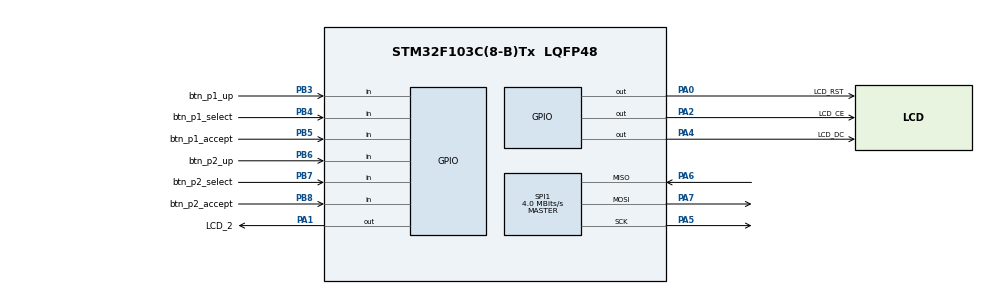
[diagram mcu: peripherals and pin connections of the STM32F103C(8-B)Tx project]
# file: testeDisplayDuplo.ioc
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FREERTOS.MEMORY_ALLOCATION=0
FREERTOS.Mutexes01=mtxBotoesP1,Dynamic,NULL;mtxBotoesP2,Dynamic,NULL;mtxStatus,Dynamic,NULL;mtxPalpiteP1,Dynamic,NULL;mtxPalpiteP2,Dynamic,NULL;mtxSenhaP1,Dynamic,NULL;mtxSenhaP2,Dynamic,NULL;mtxApostaP1,Dynamic,NULL;mtxApostaP2,Dynamic,NULL;mtxRespostaP1,Dynamic,NULL;mtxRespostaP2,Dynamic,NULL
FREERTOS.Tasks01=tsk_main_game,1,128,main_game,Default,NULL,Dynamic,NULL,NULL;tsk_p1_buttons,-2,128,buttons_p1,Default,NULL,Dynamic,NULL,NULL;tsk_p2_buttons,-2,128,p2_buttons,Default,NULL,Dynamic,NULL,NULL;tsk_p1_jogador,0,128,p1_jogador,Default,NULL,Dynamic,NULL,NULL;tsk_p2_jogador,0,128,p2_jogador,Default,NULL,Dynamic,NULL,NULL;tsk_display,-1,128,display,Default,NULL,Dynamic,NULL,NULL
FREERTOS.configMINIMAL_STACK_SIZE=100
FREERTOS.configTOTAL_HEAP_SIZE=5300
Mcu.Family=STM32F1
Mcu.Name=STM32F103C(8-B)Tx
Mcu.Package=LQFP48
NVIC.PriorityGroup=NVIC_PRIORITYGROUP_4
PA0-WKUP.GPIO_Label=LCD_RST
PA0-WKUP.Signal=GPIO_Output
PA1.GPIO_Label=LCD_2
PA1.Signal=GPIO_Output
PA13.Mode=Serial_Wire
PA13.Signal=SYS_JTMS-SWDIO
PA14.Mode=Serial_Wire
PA14.Signal=SYS_JTCK-SWCLK
PA2.GPIO_Label=LCD_CE
PA2.Signal=GPIO_Output
PA4.GPIO_Label=LCD_DC
PA4.Signal=GPIO_Output
PA5.Mode=Full_Duplex_Master
PA5.Signal=SPI1_SCK
PA6.Mode=Full_Duplex_Master
PA6.Signal=SPI1_MISO
PA7.Mode=Full_Duplex_Master
PA7.Signal=SPI1_MOSI
PB3.GPIO_Label=btn_p1_up
PB3.GPIO_PuPd=GPIO_PULLUP
PB3.Signal=GPIO_Input
PB4.GPIO_Label=btn_p1_select
PB4.GPIO_PuPd=GPIO_PULLUP
PB4.Signal=GPIO_Input
PB5.GPIO_Label=btn_p1_accept
PB5.GPIO_PuPd=GPIO_PULLUP
PB5.Signal=GPIO_Input
PB6.GPIO_Label=btn_p2_up
PB6.GPIO_PuPd=GPIO_PULLUP
PB6.Signal=GPIO_Input
PB7.GPIO_Label=btn_p2_select
PB7.GPIO_PuPd=GPIO_PULLUP
PB7.Signal=GPIO_Input
PB8.GPIO_Label=btn_p2_accept
PB8.GPIO_PuPd=GPIO_PULLUP
PB8.Signal=GPIO_Input
ProjectManager.HeapSize=0x200
ProjectManager.StackSize=0x400
ProjectManager.TargetToolchain=STM32CubeIDE
RCC.APB1Freq_Value=8000000
RCC.APB2Freq_Value=8000000
SPI1.CalculateBaudRate=4.0 MBits/s
SPI1.Direction=SPI_DIRECTION_2LINES
SPI1.Mode=SPI_MODE_MASTER
SPI1.VirtualType=VM_MASTER
VP_FREERTOS_VS_CMSIS_V1.Mode=CMSIS_V1
board=custom

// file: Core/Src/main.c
/* USER CODE BEGIN Header */
/**
  ******************************************************************************
  * @file           : main.c
  * @brief          : Main program body
  ******************************************************************************
  * @attention
  *
  * Copyright (c) 2022 STMicroelectronics.
  * All rights reserved.
  *
  * This software is licensed under terms that can be found in the LICENSE file
  * in the root directory of this software component.
  * If no LICENSE file comes with this software, it is provided AS-IS.
  *
  ******************************************************************************
  */
/* USER CODE END Header */
#include "main.h"
#include "cmsis_os.h"

 SPI_HandleTypeDef hspi1;

osThreadId tsk_main_gameHandle;
osThreadId tsk_p1_buttonsHandle;
osThreadId tsk_p2_buttonsHandle;
osThreadId tsk_p1_jogadorHandle;
osThreadId tsk_p2_jogadorHandle;
osThreadId tsk_displayHandle;
osMutexId mtxBotoesP1Handle;
osMutexId mtxBotoesP2Handle;
osMutexId mtxStatusHandle;
osMutexId mtxPalpiteP1Handle;
osMutexId mtxPalpiteP2Handle;
osMutexId mtxSenhaP1Handle;
osMutexId mtxSenhaP2Handle;
osMutexId mtxApostaP1Handle;
osMutexId mtxApostaP2Handle;
osMutexId mtxRespostaP1Handle;
osMutexId mtxRespostaP2Handle;
/* USER CODE BEGIN PV */
int flag_p1_up = 0;
int flag_p1_select = 0;
int flag_p1_accept = 0;

int flag_p2_up = 0;
int flag_p2_select = 0;
int flag_p2_accept = 0;

int status_jogo = 0;

char senha_jogador1[4] = "0000";
char senha_jogador2[4] = "0000";
char aposta_jogador1[4] = "0000";
char aposta_jogador2[4] = "0000";
char palpite_jogador1[4] = "0000";
char palpite_jogador2[4] = "0000";

char resposta_jogador1[4] = "0000";
char resposta_jogador2[4] = "0000";

/* USER CODE END PV */

void SystemClock_Config(void);
static void MX_GPIO_Init(void);
static void MX_SPI1_Init(void);
void main_game(void const * argument);
void buttons_p1(void const * argument);
void p2_buttons(void const * argument);
void p1_jogador(void const * argument);
void p2_jogador(void const * argument);
void display(void const * argument);

int main(void)
{

  /* MCU Configuration--------------------------------------------------------*/

  /* Reset of all peripherals, Initializes the Flash interface and the Systick. */
  HAL_Init();

  /* Configure the system clock */
  SystemClock_Config();

  /* Initialize all configured peripherals */
  MX_GPIO_Init();
  MX_SPI1_Init();
  /* USER CODE BEGIN 2 */
LCD_Init();

  /* USER CODE END 2 */

  /* Create the mutex(es) */
  /* definition and creation of mtxBotoesP1 */
  osMutexDef(mtxBotoesP1);
  mtxBotoesP1Handle = osMutexCreate(osMutex(mtxBotoesP1));

  /* definition and creation of mtxBotoesP2 */
  osMutexDef(mtxBotoesP2);
  mtxBotoesP2Handle = osMutexCreate(osMutex(mtxBotoesP2));

  /* definition and creation of mtxStatus */
  osMutexDef(mtxStatus);
  mtxStatusHandle = osMutexCreate(osMutex(mtxStatus));

  /* definition and creation of mtxPalpiteP1 */
  osMutexDef(mtxPalpiteP1);
  mtxPalpiteP1Handle = osMutexCreate(osMutex(mtxPalpiteP1));

  /* definition and creation of mtxPalpiteP2 */
  osMutexDef(mtxPalpiteP2);
  mtxPalpiteP2Handle = osMutexCreate(osMutex(mtxPalpiteP2));

  /* definition and creation of mtxSenhaP1 */
  osMutexDef(mtxSenhaP1);
  mtxSenhaP1Handle = osMutexCreate(osMutex(mtxSenhaP1));

  /* definition and creation of mtxSenhaP2 */
  osMutexDef(mtxSenhaP2);
  mtxSenhaP2Handle = osMutexCreate(osMutex(mtxSenhaP2));

  /* definition and creation of mtxApostaP1 */
  osMutexDef(mtxApostaP1);
  mtxApostaP1Handle = osMutexCreate(osMutex(mtxApostaP1));

  /* definition and creation of mtxApostaP2 */
  osMutexDef(mtxApostaP2);
  mtxApostaP2Handle = osMutexCreate(osMutex(mtxApostaP2));

  /* definition and creation of mtxRespostaP1 */
  osMutexDef(mtxRespostaP1);
  mtxRespostaP1Handle = osMutexCreate(osMutex(mtxRespostaP1));

  /* definition and creation of mtxRespostaP2 */
  osMutexDef(mtxRespostaP2);
  mtxRespostaP2Handle = osMutexCreate(osMutex(mtxRespostaP2));

  /* Create the thread(s) */
  /* definition and creation of tsk_main_game */
  osThreadDef(tsk_main_game, main_game, osPriorityAboveNormal, 0, 128);
  tsk_main_gameHandle = osThreadCreate(osThread(tsk_main_game), NULL);

  /* definition and creation of tsk_p1_buttons */
  osThreadDef(tsk_p1_buttons, buttons_p1, osPriorityLow, 0, 128);
  tsk_p1_buttonsHandle = osThreadCreate(osThread(tsk_p1_buttons), NULL);

  /* definition and creation of tsk_p2_buttons */
  osThreadDef(tsk_p2_buttons, p2_buttons, osPriorityLow, 0, 128);
  tsk_p2_buttonsHandle = osThreadCreate(osThread(tsk_p2_buttons), NULL);

  /* definition and creation of tsk_p1_jogador */
  osThreadDef(tsk_p1_jogador, p1_jogador, osPriorityNormal, 0, 128);
  tsk_p1_jogadorHandle = osThreadCreate(osThread(tsk_p1_jogador), NULL);

  /* definition and creation of tsk_p2_jogador */
  osThreadDef(tsk_p2_jogador, p2_jogador, osPriorityNormal, 0, 128);
  tsk_p2_jogadorHandle = osThreadCreate(osThread(tsk_p2_jogador), NULL);

  /* definition and creation of tsk_display */
  osThreadDef(tsk_display, display, osPriorityBelowNormal, 0, 128);
  tsk_displayHandle = osThreadCreate(osThread(tsk_display), NULL);

  /* Start scheduler */
  osKernelStart();

  /* We should never get here as control is now taken by the scheduler */
  /* Infinite loop */
  while (1)
  {

    /* USER CODE BEGIN 3 */
	  HAL_GPIO_WritePin(LCD_CE_GPIO_Port, LCD_CE_Pin, GPIO_PIN_RESET);
	  HAL_GPIO_WritePin(LCD_2_GPIO_Port, LCD_2_Pin, GPIO_PIN_SET);
	  HAL_Delay(100);
	  LCD_Write_String(0,0,"Jogador 1");

	  HAL_GPIO_WritePin(LCD_CE_GPIO_Port, LCD_CE_Pin, GPIO_PIN_SET);
	  HAL_GPIO_WritePin(LCD_2_GPIO_Port, LCD_2_Pin, GPIO_PIN_RESET);
	  HAL_Delay(100);
	  LCD_Write_String(0,0,"Jogador 2");
  }
  /* USER CODE END 3 */
}

void SystemClock_Config(void)
{
  RCC_OscInitTypeDef RCC_OscInitStruct = {0};
  RCC_ClkInitTypeDef RCC_ClkInitStruct = {0};

  /** Initializes the RCC Oscillators according to the specified parameters
  * in the RCC_OscInitTypeDef structure.
  */
  RCC_OscInitStruct.OscillatorType = RCC_OSCILLATORTYPE_HSI;
  RCC_OscInitStruct.HSIState = RCC_HSI_ON;
  RCC_OscInitStruct.HSICalibrationValue = RCC_HSICALIBRATION_DEFAULT;
  RCC_OscInitStruct.PLL.PLLState = RCC_PLL_NONE;
  if (HAL_RCC_OscConfig(&RCC_OscInitStruct) != HAL_OK)
  {
    Error_Handler();
  }

  /** Initializes the CPU, AHB and APB buses clocks
  */
  RCC_ClkInitStruct.ClockType = RCC_CLOCKTYPE_HCLK|RCC_CLOCKTYPE_SYSCLK
                              |RCC_CLOCKTYPE_PCLK1|RCC_CLOCKTYPE_PCLK2;
  RCC_ClkInitStruct.SYSCLKSource = RCC_SYSCLKSOURCE_HSI;
  RCC_ClkInitStruct.AHBCLKDivider = RCC_SYSCLK_DIV1;
  RCC_ClkInitStruct.APB1CLKDivider = RCC_HCLK_DIV1;
  RCC_ClkInitStruct.APB2CLKDivider = RCC_HCLK_DIV1;

  if (HAL_RCC_ClockConfig(&RCC_ClkInitStruct, FLASH_LATENCY_0) != HAL_OK)
  {
    Error_Handler();
  }
}

static void MX_SPI1_Init(void)
{

  /* SPI1 parameter configuration*/
  hspi1.Instance = SPI1;
  hspi1.Init.Mode = SPI_MODE_MASTER;
  hspi1.Init.Direction = SPI_DIRECTION_2LINES;
  hspi1.Init.DataSize = SPI_DATASIZE_8BIT;
  hspi1.Init.CLKPolarity = SPI_POLARITY_LOW;
  hspi1.Init.CLKPhase = SPI_PHASE_1EDGE;
  hspi1.Init.NSS = SPI_NSS_SOFT;
  hspi1.Init.BaudRatePrescaler = SPI_BAUDRATEPRESCALER_2;
  hspi1.Init.FirstBit = SPI_FIRSTBIT_MSB;
  hspi1.Init.TIMode = SPI_TIMODE_DISABLE;
  hspi1.Init.CRCCalculation = SPI_CRCCALCULATION_DISABLE;
  hspi1.Init.CRCPolynomial = 10;
  if (HAL_SPI_Init(&hspi1) != HAL_OK)
  {
    Error_Handler();
  }

}

static void MX_GPIO_Init(void)
{
  GPIO_InitTypeDef GPIO_InitStruct = {0};

  /* GPIO Ports Clock Enable */
  __HAL_RCC_GPIOA_CLK_ENABLE();
  __HAL_RCC_GPIOB_CLK_ENABLE();

  /*Configure GPIO pin Output Level */
  HAL_GPIO_WritePin(GPIOA, LCD_RST_Pin|LCD_2_Pin|LCD_CE_Pin|LCD_DC_Pin, GPIO_PIN_RESET);

  /*Configure GPIO pins : LCD_RST_Pin LCD_2_Pin LCD_CE_Pin LCD_DC_Pin */
  GPIO_InitStruct.Pin = LCD_RST_Pin|LCD_2_Pin|LCD_CE_Pin|LCD_DC_Pin;
  GPIO_InitStruct.Mode = GPIO_MODE_OUTPUT_PP;
  GPIO_InitStruct.Pull = GPIO_NOPULL;
  GPIO_InitStruct.Speed = GPIO_SPEED_FREQ_LOW;
  HAL_GPIO_Init(GPIOA, &GPIO_InitStruct);

  /*Configure GPIO pins : btn_p1_up_Pin btn_p1_select_Pin btn_p1_accept_Pin btn_p2_up_Pin
                           btn_p2_select_Pin btn_p2_accept_Pin */
  GPIO_InitStruct.Pin = btn_p1_up_Pin|btn_p1_select_Pin|btn_p1_accept_Pin|btn_p2_up_Pin
                          |btn_p2_select_Pin|btn_p2_accept_Pin;
  GPIO_InitStruct.Mode = GPIO_MODE_INPUT;
  GPIO_InitStruct.Pull = GPIO_PULLUP;
  HAL_GPIO_Init(GPIOB, &GPIO_InitStruct);

}

void main_game(void const * argument)
{
  for(;;)
  {
    osDelay(1);
  }
}

void buttons_p1(void const * argument)
{
  /* USER CODE BEGIN buttons_p1 */
  /* Infinite loop */

	int estado_atual_up 		 = HAL_GPIO_ReadPin(btn_p1_up_GPIO_Port, btn_p1_up_Pin);
	int estado_atual_select 	 = HAL_GPIO_ReadPin(btn_p1_select_GPIO_Port, btn_p1_select_Pin);
	int estado_atual_accept 	 = HAL_GPIO_ReadPin(btn_p1_accept_GPIO_Port, btn_p1_accept_Pin);
	int estado_anterior_up     = estado_atual_up;
	int estado_anterior_select = estado_atual_select;
	int estado_anterior_accept  = estado_atual_accept;
	for(;;)
	{
	  int acionou_up = 0;
	  int acionou_select = 0;
	  int acionou_accept = 0;

	  estado_atual_up 		 = HAL_GPIO_ReadPin(btn_p1_up_GPIO_Port, btn_p1_up_Pin);
	  estado_atual_select 	 = HAL_GPIO_ReadPin(btn_p1_select_GPIO_Port, btn_p1_select_Pin);
	  estado_atual_accept 	 = HAL_GPIO_ReadPin(btn_p1_accept_GPIO_Port, btn_p1_accept_Pin);

	  if(estado_atual_up != estado_anterior_up && estado_atual_up == 0){

		  acionou_up = 1;

	  }
	  if(estado_atual_select != estado_anterior_select && estado_atual_select == 0){

	  	  acionou_select = 1;

	  }
	  if(estado_atual_accept != estado_anterior_accept && estado_atual_accept == 0){

	  	  acionou_accept = 1;

	  }
	  estado_anterior_up     = estado_atual_up;
	  estado_anterior_select = estado_atual_select;
	  estado_anterior_accept  = estado_atual_accept;

	  osMutexWait(mtxBotoesP1Handle, 1000);
	  if(acionou_up > 0){
		  flag_p1_up = acionou_up;
	  }
	  if(acionou_select > 0){
		  flag_p1_select = acionou_up;
	  }
	  if(acionou_accept > 0){
		  flag_p1_accept = acionou_accept;
	  }
	  osMutexRelease(mtxBotoesP1Handle);
	  osDelay(100);
	}
  /* USER CODE END buttons_p1 */
}

void p2_buttons(void const * argument)
{
  /* USER CODE BEGIN p2_buttons */
  /* Infinite loop */
	int estado_atual_up 		 = HAL_GPIO_ReadPin(btn_p2_up_GPIO_Port, btn_p2_up_Pin);
	int estado_atual_select 	 = HAL_GPIO_ReadPin(btn_p2_select_GPIO_Port, btn_p2_select_Pin);
	int estado_atual_accept 	 = HAL_GPIO_ReadPin(btn_p2_accept_GPIO_Port, btn_p2_accept_Pin);
	int estado_anterior_up     = estado_atual_up;
	int estado_anterior_select = estado_atual_select;
	int estado_anterior_accept  = estado_atual_accept;

	for(;;)
	{
	  int acionou_up = 0;
	  int acionou_select = 0;
	  int acionou_accept = 0;

	  estado_atual_up 		 = HAL_GPIO_ReadPin(btn_p2_up_GPIO_Port, btn_p2_up_Pin);
	  estado_atual_select 	 = HAL_GPIO_ReadPin(btn_p2_select_GPIO_Port, btn_p2_select_Pin);
	  estado_atual_accept 	 = HAL_GPIO_ReadPin(btn_p2_accept_GPIO_Port, btn_p2_accept_Pin);

	  if(estado_atual_up != estado_anterior_up && estado_atual_up == 0){
		  acionou_up = 1;
	  }
	  if(estado_atual_select != estado_anterior_select && estado_atual_select == 0){
	  	  acionou_select = 1;
	  }
	  if(estado_atual_accept != estado_anterior_accept && estado_atual_accept == 0){
	  	  acionou_accept = 1;
	  }
	  estado_anterior_up     = estado_atual_up;
	  estado_anterior_select = estado_atual_select;
	  estado_anterior_accept  = estado_atual_accept;

	  osMutexWait(mtxBotoesP2Handle, 1000);
	  if(acionou_up > 0){
		  flag_p2_up = acionou_up;
	  }
	  if(acionou_select > 0){
		flag_p2_select = acionou_up;
	  }
	  if(acionou_accept > 0){
		  flag_p2_accept = acionou_accept;
	  }
	  osMutexRelease(mtxBotoesP2Handle);

	  osDelay(100);
	}
  /* USER CODE END p2_buttons */
}

void p1_jogador(void const * argument)
{
  /* USER CODE BEGIN p1_jogador */
  /* Infinite loop */
	int acionou_up = 0;
	int acionou_select = 0;
	int acionou_accept = 0;
	int local_status_jogo = 0;
	int posicao_tela = 0;
	char local_senha[4] ;
	char local_palpite[4];
  for(;;)
  {
	osMutexWait(mtxBotoesP1Handle, 1000);
	acionou_up = flag_p1_up;
	acionou_select = flag_p1_select;
	acionou_accept = flag_p2_accept;
	osMutexRelease(mtxBotoesP1Handle);

	osMutexWait(mtxStatusHandle, 1000);
	local_status_jogo = status_jogo;
	osMutexRelease(mtxStatusHandle);

	osMutexWait(mtxPalpiteP1Handle,1000);
	palpite_jogador1[0] = local_palpite[0];
	palpite_jogador1[1] = local_palpite[1];
	palpite_jogador1[2] = local_palpite[2];
	palpite_jogador1[3] = local_palpite[3];
	osMutexRelease(mtxPalpiteP1Handle);

	if(local_status_jogo == 0){
		if(acionou_select > 0){
			if(posicao_tela >= 3){
				posicao_tela = 0;
			}else{
				posicao_tela ++;
			}
			osMutexWait(mtxBotoesP1Handle, 1000);
			flag_p1_select = 0;
			osMutexRelease(mtxBotoesP1Handle);
			acionou_select = 0;
		}
		if(acionou_up > 0 ){

			if( local_palpite[posicao_tela] >= 9){
				local_palpite[posicao_tela] = 0;
			}else{
				local_palpite[posicao_tela] ++;
			}
			osMutexWait(mtxBotoesP1Handle, 1000);
			flag_p1_up = 0;
			osMutexRelease(mtxBotoesP1Handle);
			acionou_up = 0;
		}
		if(acionou_accept > 0 ){
			osMutexWait(mtxSenhaP1Handle, 1000);
			senha_jogador1[0] = local_palpite[0];
			senha_jogador1[1] = local_palpite[1];
			senha_jogador1[2] = local_palpite[2];
			senha_jogador1[3] = local_palpite[3];
			osMutexRelease(mtxSenhaP1Handle);
			osMutexWait(mtxBotoesP1Handle, 1000);
			flag_p1_accept = 0;
			osMutexRelease(mtxBotoesP1Handle);
			acionou_accept = 0;
		}
	}else if(local_status_jogo == 1 || local_status_jogo == 2){
		if(acionou_select > 0){
					if(posicao_tela >= 3){
						posicao_tela = 0;
					}else{
						posicao_tela ++;
					}
					osMutexWait(mtxBotoesP1Handle, 1000);
					flag_p1_select = 0;
					osMutexRelease(mtxBotoesP1Handle);
					acionou_select = 0;
				}
				if(acionou_up > 0 ){

					if( local_palpite[posicao_tela] >= 9){
						local_palpite[posicao_tela] = 0;
					}else{
						local_palpite[posicao_tela] ++;
					}
					osMutexWait(mtxBotoesP1Handle, 1000);
					flag_p1_up = 0;
					osMutexRelease(mtxBotoesP1Handle);
					acionou_up = 0;
				}
				if(acionou_accept > 0 ){
					if(local_status_jogo == 1){
						osMutexWait(mtxApostaP1Handle, 1000);
						aposta_jogador1[0] = local_palpite[0];
						aposta_jogador1[1] = local_palpite[1];
						aposta_jogador1[2] = local_palpite[2];
						aposta_jogador1[3] = local_palpite[3];
						osMutexRelease(mtxApostaP1Handle);
					}
					osMutexWait(mtxBotoesP1Handle, 1000);
					flag_p1_accept = 0;
					osMutexRelease(mtxBotoesP1Handle);
					acionou_accept = 0;
				}

	}

    osDelay(1);
  }
  /* USER CODE END p1_jogador */
}

void p2_jogador(void const * argument)
{
  /* USER CODE BEGIN p2_jogador */
  /* Infinite loop */
	int acionou_up = 0;
	int acionou_select = 0;
	int acionou_accept = 0;
	int local_status_jogo = 0;
	int posicao_tela = 0;
	char local_palpite[4];
  for(;;)
  {
	osMutexWait(mtxBotoesP2Handle, 1000);
	acionou_up = flag_p2_up;
	acionou_select = flag_p2_select;
	acionou_accept = flag_p2_accept;
	osMutexRelease(mtxBotoesP2Handle);

	osMutexWait(mtxStatusHandle, 1000);
	local_status_jogo = status_jogo;
	osMutexRelease(mtxStatusHandle);

	osMutexWait(mtxPalpiteP2Handle,1000);
	palpite_jogador2[0] = local_palpite[0];
	palpite_jogador2[1] = local_palpite[1];
	palpite_jogador2[2] = local_palpite[2];
	palpite_jogador2[3] = local_palpite[3];
	osMutexRelease(mtxPalpiteP2Handle);

	if(local_status_jogo == 0){
		if(acionou_select > 0){
			if(posicao_tela >= 3){
				posicao_tela = 0;
			}else{
				posicao_tela ++;
			}
			osMutexWait(mtxBotoesP2Handle, 1000);
			flag_p1_select = 0;
			osMutexRelease(mtxBotoesP2Handle);
			acionou_select = 0;
		}
		if(acionou_up > 0 ){

			if( local_palpite[posicao_tela] >= 9){
				local_palpite[posicao_tela] = 0;
			}else{
				local_palpite[posicao_tela] ++;
			}
			osMutexWait(mtxBotoesP2Handle, 1000);
			flag_p2_up = 0;
			osMutexRelease(mtxBotoesP2Handle);
			acionou_up = 0;
		}
		if(acionou_accept > 0 ){
			osMutexWait(mtxSenhaP2Handle, 1000);
			senha_jogador2[0] = local_palpite[0];
			senha_jogador2[1] = local_palpite[1];
			senha_jogador2[2] = local_palpite[2];
			senha_jogador2[3] = local_palpite[3];
			osMutexRelease(mtxSenhaP2Handle);
			osMutexWait(mtxBotoesP2Handle, 1000);
			flag_p2_accept = 0;
			osMutexRelease(mtxBotoesP2Handle);
			acionou_accept = 0;
		}
	}else if(local_status_jogo == 1 || local_status_jogo == 2){
		if(acionou_select > 0){
					if(posicao_tela >= 3){
						posicao_tela = 0;
					}else{
						posicao_tela ++;
					}
					osMutexWait(mtxBotoesP2Handle, 1000);
					flag_p1_select = 0;
					osMutexRelease(mtxBotoesP1Handle);
					acionou_select = 0;
				}
				if(acionou_up > 0 ){

					if( local_palpite[posicao_tela] >= 9){
						local_palpite[posicao_tela] = 0;
					}else{
						local_palpite[posicao_tela] ++;
					}
					osMutexWait(mtxBotoesP2Handle, 1000);
					flag_p2_up = 0;
					osMutexRelease(mtxBotoesP2Handle);
					acionou_up = 0;
				}
				if(acionou_accept > 0 ){
					if(local_status_jogo == 2){
						osMutexWait(mtxApostaP2Handle, 1000);
						aposta_jogador2[0] = local_palpite[0];
						aposta_jogador2[1] = local_palpite[1];
						aposta_jogador2[2] = local_palpite[2];
						aposta_jogador2[3] = local_palpite[3];
						osMutexRelease(mtxApostaP2Handle);
					}
					osMutexWait(mtxBotoesP2Handle, 1000);
					flag_p1_accept = 0;
					osMutexRelease(mtxBotoesP2Handle);
					acionou_accept = 0;
				}

	}

    osDelay(1);
  }
  /* USER CODE END p2_jogador */
}

void display(void const * argument)
{
  /* USER CODE BEGIN display */
  /* Infinite loop */
	char local_palpiteP1[4];
	char local_palpiteP2[4];
	char local_SenhaP1[4];
	char local_SenhaP2[4];
	char local_ApostaP1[4];
	char local_ApostaP2[4];
	char local_RespostaP1[4];
	char local_RespostaP2[4];
  for(;;)
  {
	  osMutexWait(mtxPalpiteP1Handle,1000);
	  local_palpiteP1[0] = palpite_jogador1[0];
	  local_palpiteP1[1] = palpite_jogador1[1];
	  local_palpiteP1[2] = palpite_jogador1[2];
	  local_palpiteP1[3] = palpite_jogador1[3];
	  osMutexRelease(mtxPalpiteP1Handle);
	  osMutexWait(mtxPalpiteP2Handle,1000);
	  local_palpiteP2[0] = palpite_jogador2[0];
	  local_palpiteP2[1] = palpite_jogador2[1];
	  local_palpiteP2[2] = palpite_jogador2[2];
	  local_palpiteP2[3] = palpite_jogador2[3];
	  osMutexRelease(mtxPalpiteP2Handle);

	  osMutexWait(mtxSenhaP1Handle,1000);
	  local_SenhaP1[0] = senha_jogador1[0];
	  local_SenhaP1[1] = senha_jogador1[1];
	  local_SenhaP1[2] = senha_jogador1[2];
	  local_SenhaP1[3] = senha_jogador1[3];
	  osMutexRelease(mtxSenhaP1Handle);

	  osMutexWait(mtxSenhaP2Handle,1000);
	  local_SenhaP2[0] = senha_jogador2[0];
	  local_SenhaP2[1] = senha_jogador2[1];
	  local_SenhaP2[2] = senha_jogador2[2];
	  local_SenhaP2[3] = senha_jogador2[3];
	  osMutexRelease(mtxSenhaP2Handle);

	  osMutexWait(mtxApostaP1Handle,1000);
	  local_ApostaP1[0] = aposta_jogador1[0];
	  local_ApostaP1[1] = aposta_jogador1[1];
	  local_ApostaP1[2] = aposta_jogador1[2];
	  local_ApostaP1[3] = aposta_jogador1[3];
	  osMutexRelease(mtxApostaP1Handle);

	  osMutexWait(mtxApostaP2Handle,1000);
	  local_ApostaP2[0] = aposta_jogador2[0];
	  local_ApostaP2[1] = aposta_jogador2[1];
	  local_ApostaP2[2] = aposta_jogador2[2];
	  local_ApostaP2[3] = aposta_jogador2[3];
	  osMutexRelease(mtxApostaP2Handle);

	  osMutexWait(mtxRespostaP1Handle,1000);
	  local_RespostaP1[0] = resposta_jogador1[0];
	  local_RespostaP1[1] = resposta_jogador1[1];
	  local_RespostaP1[2] = resposta_jogador1[2];
	  local_RespostaP1[3] = resposta_jogador1[3];
	  osMutexRelease(mtxRespostaP1Handle);

	  osMutexWait(mtxRespostaP2Handle,1000);
	  local_RespostaP2[0] = resposta_jogador2[0];
	  local_RespostaP2[1] = resposta_jogador2[1];
	  local_RespostaP2[2] = resposta_jogador2[2];
	  local_RespostaP2[3] = resposta_jogador2[3];
	  osMutexRelease(mtxRespostaP2Handle);

	  HAL_GPIO_WritePin(LCD_CE_GPIO_Port, LCD_CE_Pin, GPIO_PIN_RESET);
	  HAL_GPIO_WritePin(LCD_2_GPIO_Port, LCD_2_Pin, GPIO_PIN_SET);
	  HAL_Delay(100);
	  LCD_Write_String(0,0,"Jogador 1");

	 	  HAL_GPIO_WritePin(LCD_CE_GPIO_Port, LCD_CE_Pin, GPIO_PIN_SET);
	 	  HAL_GPIO_WritePin(LCD_2_GPIO_Port, LCD_2_Pin, GPIO_PIN_RESET);
	 	  HAL_Delay(100);
	 	  LCD_Write_String(0,0,"Jogador 2");
  }
  /* USER CODE END display */
}

void Error_Handler(void)
{
  __disable_irq();
  while (1)
  {
  }
}
